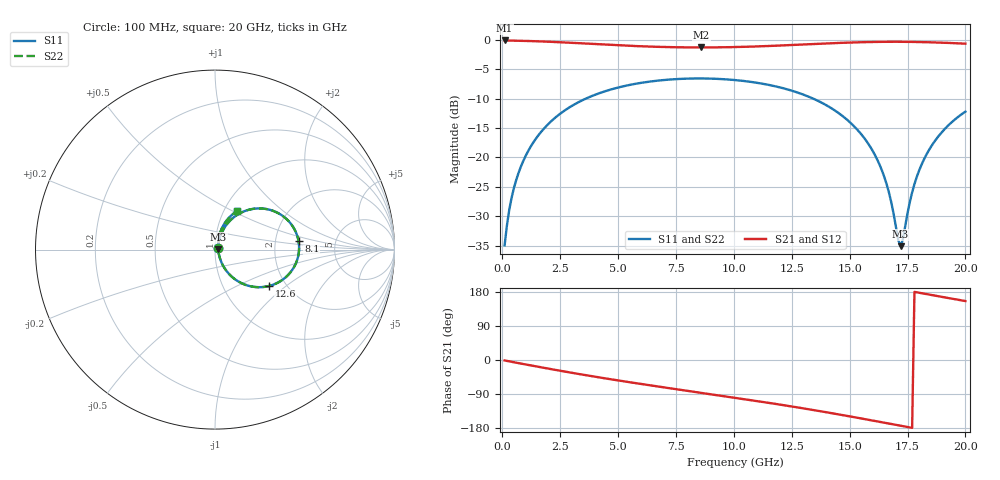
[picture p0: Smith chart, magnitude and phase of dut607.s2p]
! Touchstone file exported from HFSS 2026.1.0
!  File:  C:/ffzhzh/LocalFiles/Ansys_Project_Files/temp_train_TSV_RDL_607_1783122751_35180.aedt
!  Generated:  08:02:37 AM Jul  4, 2026
!  Design:  TSV_RDL
!  Project:  temp_train_TSV_RDL_607_1783122751_35180
! Variables:
!  h_bsmrdl = 3.97um
!  h_ox = 20um
!  h_rdl = 5um
!  h_sub = 73.86um
!  h_tmrdl = 2.95um
!  h_tsv = 73.86um
!  h_via = 3um
!  l_bsmrdl = 764.24um
!  l_sub = 3390.34um
!  l_tmrdl = 142.77um
!  m_sub = 200um
!  pitch = 49.28um
!  r_tsv = 8.05um
!  s_tmrdl = 10um
!  w_bsmrdl = 27.81um
!  w_sub = 500um
!  w_tmrdl = 14.37um
!  x_tsv_center1 = 149.955um
!  x_tsv_center2 = 942.005um
!  x_tsv_center3 = 1099.145um
!  x_tsv_center4 = 1891.195um
!  x_tsv_center5 = 2048.335um
!  x_tsv_center6 = 2840.385um
# GHz S MA R 50.000000
! Terminal data exported
! Port[1] = TM_RDL1_1_T1
! Port[2] = TM_RDL5_1_T1
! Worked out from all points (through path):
!   200 points, 100 MHz to 20 GHz, reference 50 ohm
!   highest |S21| = -0.12 dB at 100 MHz (marker M1); lowest = -1.3 dB at 8.6 GHz (marker M2)
!   group delay of S21, straight-line fit = 27.4 ps
!   lowest |S11| = -35.1 dB at 17.2 GHz (marker M3), VSWR 1.04, Z = 51.8 + j0.178 ohm
!   |S11| at or under -10 dB: start of sweep to 3.611 GHz; 13.42 GHz to end of sweep
!   |S22| runs from -35.1 to -6.6 dB; largest |S21 - S12| = 1.7e-14
!   S11 on the Smith chart (normalised r, x): 100 MHz: 1.03, +0.02; 8.1 GHz: 2.71, +0.33; 12.6 GHz: 1.65, -0.77; 20 GHz: 1.15, +0.52
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0.1  0.01796 37.3  0.9859 -1.2  0.9859 -1.2  0.01796 37.3
! Gamma 0 0 0 0
! Port Impedance 50 0 50 0
0.3  0.03581 60.7  0.984 -3.6  0.984 -3.6  0.03581 60.7
0.5  0.05476 66.4  0.982 -5.9  0.982 -5.9  0.05476 66.4
1.1  0.1117 67.9  0.9757 -12.8  0.9757 -12.8  0.1117 67.9
2.1  0.2021 60.5  0.96 -24.0  0.96 -24.0  0.2021 60.5
3.5  0.3089 47.2  0.9301 -39.0  0.9301 -39.0  0.3089 47.2
6.8  0.4512 17.0  0.8694 -70.6  0.8694 -70.6  0.4512 17.0
8.1  0.4679 5.8  0.8604 -82.2  0.8604 -82.2  0.4679 5.8
8.6  0.4688 1.5  0.8598 -86.6  0.8598 -86.6  0.4688 1.5
10.1  0.4534 -11.4  0.8669 -100.0  0.8669 -100.0  0.4534 -11.4
12.6  0.3641 -33.8  0.9035 -123.6  0.9035 -123.6  0.3641 -33.8
13.4  0.3177 -41.2  0.9186 -131.7  0.9186 -131.7  0.3177 -41.2
14.6  0.2324 -52.4  0.94 -144.3  0.94 -144.3  0.2324 -52.4
15.5  0.1577 -60.0  0.9525 -154.2  0.9525 -154.2  0.1577 -60.0
16.2  0.09527 -63.4  0.9586 -162.1  0.9586 -162.1  0.09525 -63.4
16.7  0.05018 -59.0  0.9606 -167.7  0.9606 -167.7  0.05015 -59.1
17.1  0.0199 -21.7  0.9607 -172.3  0.9607 -172.3  0.01985 -21.7
17.2  0.01763 5.6  0.9605 -173.4  0.9605 -173.4  0.01758 5.6
17.7  0.05049 68.9  0.9583 -179.1  0.9583 -179.1  0.05049 69.0
18.2  0.09524 73.2  0.9541 175.3  0.9541 175.3  0.09524 73.2
19  0.1653 69.0  0.9437 166.4  0.9437 166.4  0.1653 69.0
20  0.245 60.5  0.926 155.6  0.926 155.6  0.245 60.5
